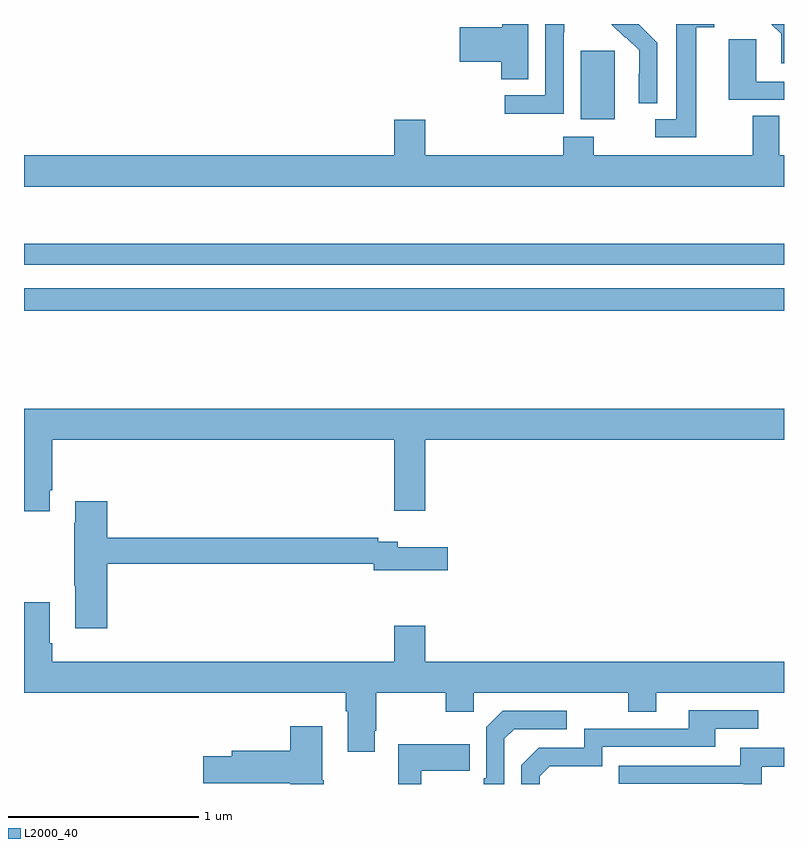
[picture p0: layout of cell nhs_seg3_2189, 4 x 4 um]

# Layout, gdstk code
import gdstk
lib = gdstk.Library(unit=1e-6, precision=1e-09)
def R(c, l, rs):  # rectangles x0, y0, x1, y1
    for r in rs: c.add(gdstk.rectangle(r[:2], r[2:], *l))
def P(c, l, *ps):  # polygons
    for p in ps: c.add(gdstk.Polygon(p, *l))
L2000_40 = (2000, 40)

nhs_seg3_2189 = lib.new_cell('nhs_seg3_2189')
R(nhs_seg3_2189, L2000_40, [(223,738.892,227,739.008), (223,739.134,227,739.243), (225.929,739.898,226.108,740.259)])
P(nhs_seg3_2189, L2000_40, [(225.655,740.4),(225.517,740.4),(225.517,740.384),(225.294,740.384),(225.294,740.201),(225.512,740.201),(225.512,740.11),(225.655,740.11)],
  [(225.84,740.356),(225.843,740.356),(225.843,740.4),(225.744,740.4),(225.744,740.025),(225.531,740.025),(225.531,739.927),(225.84,739.927)],
  [(226.332,740.302),(226.259,740.375),(226.26,740.376),(226.236,740.4),(226.092,740.4),(226.164,740.328),(226.167,740.331),(226.238,740.261),(226.238,740.138),(226.236,740.138),(226.236,739.984),(226.332,739.984)],
  [(226.537,740.384),(226.633,740.384),(226.633,740.4),(226.433,740.4),(226.433,739.899),(226.323,739.899),(226.323,739.803),(226.537,739.803)],
  [(227,740.4),(226.934,740.4),(226.985,740.349),(226.985,740.193),(227,740.193)],
  [(227,740.097),(226.854,740.097),(226.854,740.321),(226.709,740.321),(226.709,740.001),(227,740.001)],
  [(227,739.708),(226.975,739.708),(226.975,739.916),(226.835,739.916),(226.835,739.708),(225.999,739.708),(225.999,739.807),(225.839,739.807),(225.839,739.708),(225.112,739.708),(225.112,739.897),(224.948,739.897),(224.948,739.708),(223,739.708),(223,739.544),(227,739.544)],
  [(223.135,737.947),(223.148,737.947),(223.148,738.212),(224.948,738.212),(224.948,737.838),(225.112,737.838),(225.112,738.212),(227,738.212),(227,738.376),(223,738.376),(223,737.835),(223.135,737.835)],
  [(223.439,737.56),(224.84,737.56),(224.84,737.525),(225.229,737.525),(225.229,737.647),(224.968,737.647),(224.968,737.676),(224.864,737.676),(224.864,737.696),(223.439,737.696),(223.439,737.887),(223.271,737.887),(223.271,737.774),(223.264,737.774),(223.264,737.443),(223.271,737.443),(223.271,737.22),(223.439,737.22)],
  [(224.845,736.681),(224.853,736.681),(224.853,736.88),(225.22,736.88),(225.22,736.781),(225.366,736.781),(225.366,736.88),(226.18,736.88),(226.18,736.781),(226.327,736.781),(226.327,736.88),(227,736.88),(227,737.044),(225.112,737.044),(225.112,737.233),(224.948,737.233),(224.948,737.044),(223.148,737.044),(223.148,737.14),(223.135,737.14),(223.135,737.356),(223,737.356),(223,736.88),(224.693,736.88),(224.693,736.784),(224.705,736.784),(224.705,736.569),(224.845,736.569)],
  [(225.714,736.44),(225.767,736.493),(226.044,736.493),(226.044,736.596),(226.639,736.596),(226.639,736.692),(226.864,736.692),(226.864,736.788),(226.499,736.788),(226.499,736.692),(225.948,736.692),(225.948,736.59),(225.708,736.59),(225.618,736.5),(225.618,736.4),(225.714,736.4)],
  [(225.528,736.638),(225.579,736.689),(225.856,736.689),(225.856,736.785),(225.519,736.785),(225.432,736.698),(225.432,736.429),(225.42,736.429),(225.42,736.4),(225.528,736.4)],
  [(224.577,736.419),(224.569,736.419),(224.569,736.705),(224.402,736.705),(224.402,736.575),(224.093,736.575),(224.093,736.545),(223.944,736.545),(223.944,736.403),(224.402,736.403),(224.402,736.4),(224.577,736.4)],
  [(225.091,736.469),(225.347,736.469),(225.347,736.609),(224.97,736.609),(224.97,736.4),(225.091,736.4)],
  [(226.884,736.491),(227,736.491),(227,736.591),(226.769,736.591),(226.769,736.497),(226.129,736.497),(226.129,736.401),(226.788,736.401),(226.788,736.4),(226.884,736.4)])

lib.write_gds('nhs_seg3_2189.gds')
